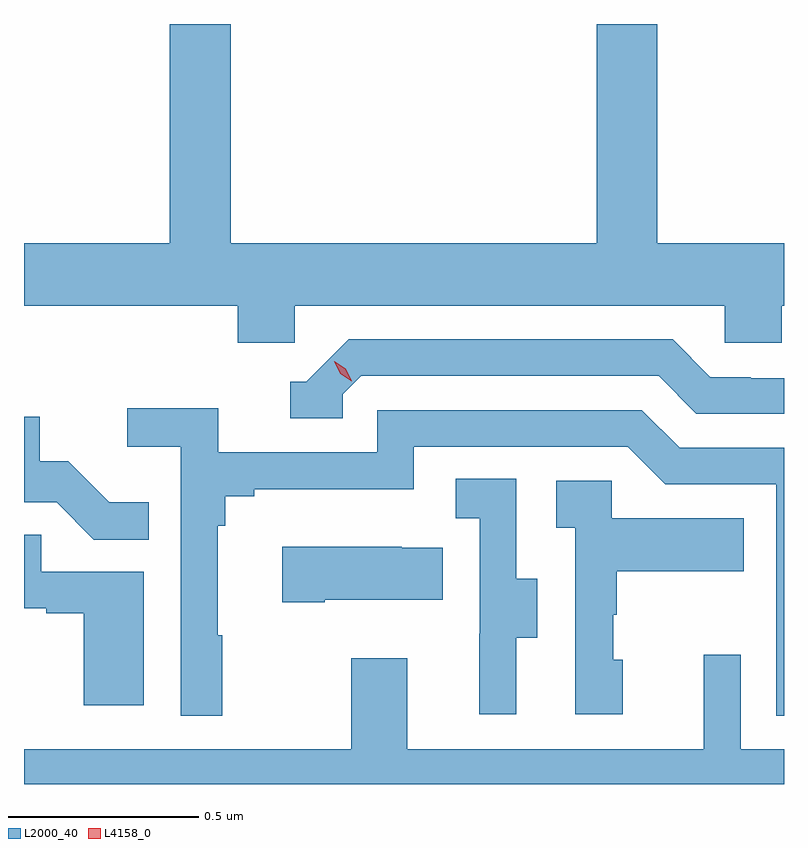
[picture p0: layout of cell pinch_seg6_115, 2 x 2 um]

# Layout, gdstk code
import gdstk
lib = gdstk.Library(unit=1e-6, precision=1e-09)
def P(c, l, *ps):  # polygons
    for p in ps: c.add(gdstk.Polygon(p, *l))
L2000_40 = (2000, 40)
L4158_0 = (4158, 0)

pinch_seg6_115 = lib.new_cell('pinch_seg6_115')
P(pinch_seg6_115, L2000_40, [(901.164,930.02),(902.295,930.02),(902.295,929.922),(902.445,929.922),(902.445,930.02),(902.451,930.02),(902.451,930.184),(902.118,930.184),(902.118,930.761),(901.958,930.761),(901.958,930.184),(900.995,930.184),(900.995,930.761),(900.835,930.761),(900.835,930.184),(900.451,930.184),(900.451,930.02),(901.013,930.02),(901.013,929.922),(901.164,929.922)],
  [(901.29,929.787),(901.338,929.835),(902.121,929.835),(902.22,929.736),(902.451,929.736),(902.451,929.829),(902.364,929.829),(902.364,929.832),(902.257,929.832),(902.158,929.931),(901.305,929.931),(901.194,929.82),(901.151,929.82),(901.151,929.724),(901.29,929.724)],
  [(900.973,929.153),(900.961,929.153),(900.961,929.441),(900.98,929.441),(900.98,929.518),(901.057,929.518),(901.057,929.537),(901.476,929.537),(901.476,929.649),(902.04,929.649),(902.139,929.55),(902.43,929.55),(902.43,928.941),(902.451,928.941),(902.451,929.646),(902.176,929.646),(902.077,929.745),(901.38,929.745),(901.38,929.634),(900.962,929.634),(900.962,929.75),(900.723,929.75),(900.723,929.648),(900.864,929.648),(900.864,928.941),(900.973,928.941)],
  [(900.779,929.503),(900.675,929.503),(900.568,929.61),(900.492,929.61),(900.492,929.727),(900.451,929.727),(900.451,929.502),(900.537,929.502),(900.635,929.404),(900.779,929.404)],
  [(901.747,929.146),(901.801,929.146),(901.801,929.301),(901.746,929.301),(901.746,929.564),(901.587,929.564),(901.587,929.461),(901.65,929.461),(901.65,929.157),(901.649,929.157),(901.649,928.944),(901.747,928.944)],
  [(902.026,929.088),(902.001,929.088),(902.001,929.207),(902.011,929.207),(902.011,929.321),(902.345,929.321),(902.345,929.461),(901.998,929.461),(901.998,929.559),(901.851,929.559),(901.851,929.435),(901.902,929.435),(901.902,928.944),(902.026,928.944)],
  [(900.766,929.319),(900.497,929.319),(900.497,929.417),(900.451,929.417),(900.451,929.223),(900.509,929.223),(900.509,929.211),(900.608,929.211),(900.608,928.968),(900.766,928.968)],
  [(901.243,929.246),(901.553,929.246),(901.553,929.383),(901.445,929.383),(901.445,929.386),(901.131,929.386),(901.131,929.239),(901.243,929.239)],
  [(902.451,928.852),(902.337,928.852),(902.337,929.101),(902.24,929.101),(902.24,928.852),(901.459,928.852),(901.459,929.092),(901.312,929.092),(901.312,928.852),(900.451,928.852),(900.451,928.761),(902.451,928.761)])
P(pinch_seg6_115, L4158_0, [(901.314,929.821),(901.283,929.841),(901.267,929.873),(901.267,929.874),(901.268,929.874),(901.298,929.854),(901.314,929.821),(901.314,929.821)])

lib.write_gds('pinch_seg6_115.gds')
